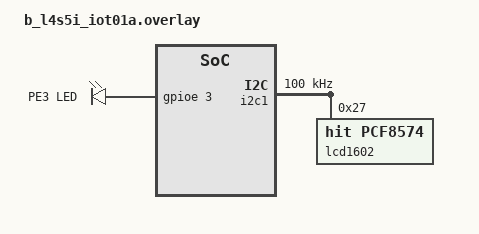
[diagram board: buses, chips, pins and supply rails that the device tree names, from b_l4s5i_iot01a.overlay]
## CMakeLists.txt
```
cmake_minimum_required(VERSION 3.20.0)

find_package(Zephyr REQUIRED HINTS $ENV{ZEPHYR_BASE})
project(app_test_4)

target_sources(app PRIVATE src/main.c)
```

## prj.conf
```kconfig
CONFIG_GPIO=y
CONFIG_SPI=y
CONFIG_SENSOR=y
#CONFIG_ADXL345=y
CONFIG_PRINTK=y
CONFIG_STDOUT_CONSOLE=y
CONFIG_MULTITHREADING=y
CONFIG_CBPRINTF_FP_SUPPORT=y
```

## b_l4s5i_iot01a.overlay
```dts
/ {
	/* 統一寫在一個 aliases 區塊 */
	aliases {
		led0 = &green_led_2; /* 對應開發板原本的綠燈 */
		led1 = &pe3_led;     /* 對應你新增的 PE3 LED */
	};

	leds {
		compatible = "gpio-leds";
		pe3_led: pe3_led {
			gpios = <&gpioe 3 GPIO_ACTIVE_HIGH>;
			label = "PE3 LED";
		}; 
	};
};

&i2c1 {
	status = "okay";
	clock-frequency = <100000>;
	lcd1602: lcd@27 {
		compatible = "hit,pcf8574";
		reg = <0x27>; /* 對應 cs-gpios 的第 0 個索引 */
		status = "okay";
	};
};
```

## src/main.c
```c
#include <zephyr/kernel.h>
#include <zephyr/device.h>
#include <zephyr/drivers/gpio.h>
#include <zephyr/sys/printk.h>

#define STACK_SIZE      1024
#define LED_ON_TIME_MS  1000
#define SLEEP_TIME_MS   10000


/*功能:threadA每10秒喚醒threadB觸發3次閃爍。重點:gpio(led)、multithread、Semaphore*/

// 將初始值設為 0，最大值設為 1。這樣 A 一定要等 B 給了之後才能執行。
K_SEM_DEFINE(my_sem, 0, 1);

#define LED0_NODE DT_ALIAS(led0)
static const struct gpio_dt_spec led0 = GPIO_DT_SPEC_GET(LED0_NODE, gpios);

void threadA(void *p1, void *p2, void *p3)
{
    if (!device_is_ready(led0.port)) {
        return;
    }
    gpio_pin_configure_dt(&led0, GPIO_OUTPUT_INACTIVE);

    while (1) {
        // 使用 K_FOREVER，Thread A 會在這裡掛起（Suspend），不占用 CPU
        // 直到 Thread B 執行 k_sem_give
        if (k_sem_take(&my_sem, K_FOREVER) == 0) {
            printk("Thread A: Triggered by Semaphore!\n");
            
            // 執行三次閃爍
            for (int i = 0; i < 3; i++) {
                gpio_pin_set_dt(&led0, 1);
                k_msleep(LED_ON_TIME_MS);
                gpio_pin_set_dt(&led0, 0);
                k_msleep(LED_ON_TIME_MS);
            }
        }
    }
}

void threadB(void *p1, void *p2, void *p3)
{
    while (1) {
        // 每 10 秒給予執行權限
        k_msleep(SLEEP_TIME_MS);
        printk("Thread B: Giving Semaphore...\n");
        k_sem_give(&my_sem);
    }
}

// 定義執行緒
K_THREAD_DEFINE(threada_id, STACK_SIZE, threadA, NULL, NULL, NULL, 7, 0, 0);
K_THREAD_DEFINE(threadb_id, STACK_SIZE, threadB, NULL, NULL, NULL, 7, 0, 0);

// Zephyr 3.x 以後建議使用 int main(void)
int main(void)
{
    printk("System started, waiting for triggers...\n");
    return 0;
}
```
